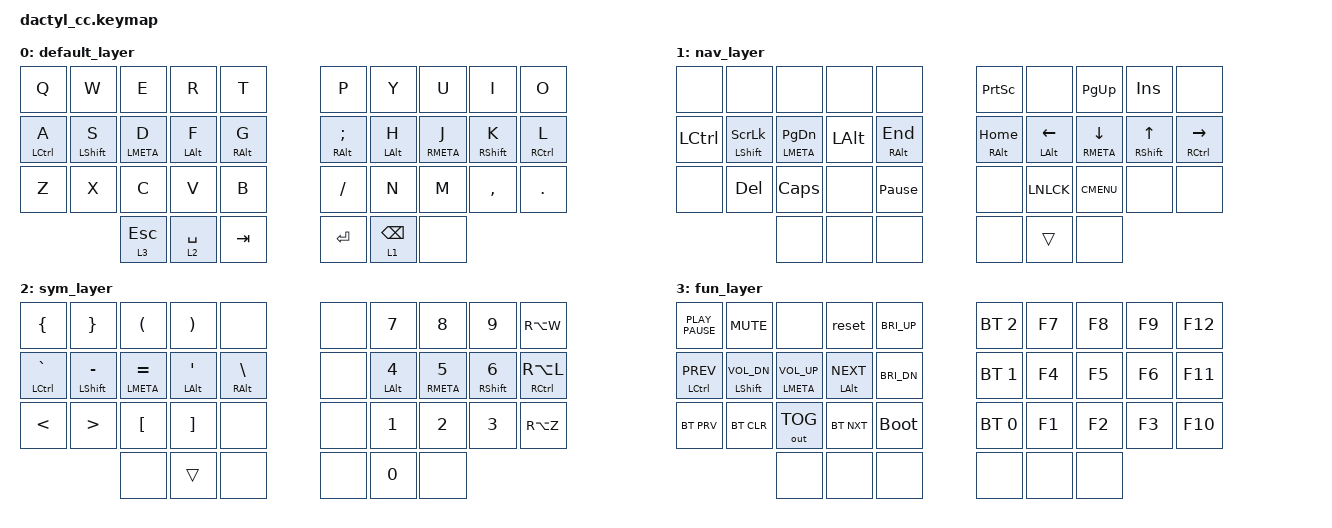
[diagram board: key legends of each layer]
/*
 * Copyright (c) 2020 The ZMK Contributors
 *
 * SPDX-License-Identifier: MIT
 */

#include <behaviors.dtsi>
#include <dt-bindings/zmk/keys.h>
#include <dt-bindings/zmk/bt.h>
#include <dt-bindings/zmk/outputs.h>

&lt {
    tapping-term-ms = <150>;
    quick_tap_ms = <300>;
    flavor = "hold-preferred";
};

&mt {
    tapping-term-ms = <150>;
    quick_tap_ms = <300>;
    flavor = "hold-preferred";
};

&kscan0 {
    debounce-press-ms = <30>;
    debounce-release-ms = <30>;
};

/ {
  behaviors {
    lhm: left_homerow_mods {
      compatible = "zmk,behavior-hold-tap";
      label = "POSITIONAL_HOLD_TAP_LEFT";
      #binding-cells = <2>;
      flavor = "balanced";
      tapping-term-ms = <150>;
      quick_tap_ms = <300>;
      bindings = <&kp>, <&kp>;
      // hold-trigger-key-positions = <5 6 7 8 9>;
    };
    rhm: right_homerow_mods {
      compatible = "zmk,behavior-hold-tap";
      label = "POSITIONAL_HOLD_TAP_RIGHT";
      #binding-cells = <2>;
      flavor = "balanced";
      tapping-term-ms = <150>;
      quick_tap_ms = <300>;
      bindings = <&kp>, <&kp>;
      // hold-trigger-key-positions = <0 1 2 3 4>;
    };
  };

  keymap {
    compatible = "zmk,keymap";

    default_layer {
      bindings = <
        &kp Q        &kp W        &kp E        &kp R       &kp T           &kp P          &kp Y       &kp U        &kp I        &kp O
        &lhm LCTRL A &lhm LSHFT S &lhm LMETA D &lhm LALT F &lhm RALT G     &rhm RALT SEMI &rhm LALT H &rhm RMETA J &rhm RSHFT K &rhm RCTRL L
        &kp Z        &kp X        &kp C        &kp V       &kp B           &kp SLASH      &kp N       &kp M        &kp CMMA     &kp DOT
                                  &lt 3 ESC    &lt 2 SPACE &kp TAB         &kp ENTER      &lt 1 BSPC  &none
      >;
    };

    nav_layer {
      bindings = <
        &none     &none           &none            &none     &none               &kp PSCRN      &none          &kp PG_UP       &kp INS       &none
        &kp LCTRL &lhm LSHFT SLCK &lhm LMETA PG_DN &kp LALT  &lhm RALT END       &rhm RALT HOME &rhm LALT LEFT &rhm RMETA DOWN &rhm RSHFT UP &rhm RCTRL RIGHT
        &none     &kp DEL         &kp CLCK         &none     &kp PAUSE_BREAK     &none          &kp LNLCK      &kp K_CMENU     &none         &none
                                  &none            &none     &none               &none          &trans         &none
      >;
    };

    sym_layer {
      bindings = <
        &kp LBRC         &kp RBRC         &kp LPAR         &kp RPAR       &none              &none  &kp N7       &kp N8        &kp N9        &kp RA(W)
        &lhm LCTRL GRAVE &lhm LSHFT MINUS &lhm LMETA EQUAL &lhm LALT APOS &lhm RALT BSLH     &none  &rhm LALT N4 &rhm RMETA N5 &rhm RSHFT N6 &rhm RCTRL RA(L)
        &kp LT           &kp GT           &kp LBKT         &kp RBKT       &none              &none  &kp N1       &kp N2        &kp N3        &kp RA(Z)
                                          &none            &trans         &none              &none  &kp N0       &none
      >;
    };

    fun_layer {
      bindings = <
        &kp K_PLAY_PAUSE  &kp K_MUTE          &none               &reset           &kp C_BRI_UP     &bt BT_SEL 2 &kp F7 &kp F8 &kp F9 &kp F12  
        &lhm LCTRL K_PREV &lhm LSHFT K_VOL_DN &lhm LMETA K_VOL_UP &lhm LALT K_NEXT &kp C_BRI_DN     &bt BT_SEL 1 &kp F4 &kp F5 &kp F6 &kp F11  
        &bt BT_PRV        &bt BT_CLR          &out OUT_TOG        &bt BT_NXT       &bootloader      &bt BT_SEL 0 &kp F1 &kp F2 &kp F3 &kp F10  
                                              &none               &none            &none            &none        &none  &none
      >;
    };

  };
};

